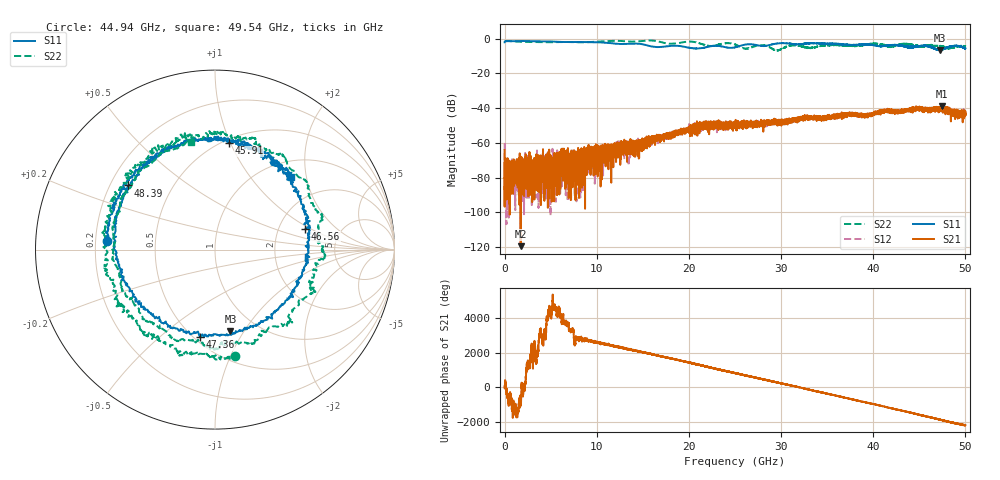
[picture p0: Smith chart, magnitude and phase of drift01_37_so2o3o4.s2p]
!Created with skrf (http://scikit-rf.org).
# Hz S RI R 50.0
!freq ReS11 ImS11 ReS21 ImS21 ReS12 ImS12 ReS22 ImS22
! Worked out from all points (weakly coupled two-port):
!   10001 points, 300 kHz to 50 GHz, reference 50 ohm
!   highest |S21| = -38.87 dB at 47.42 GHz (marker M1); lowest = -119.5 dB at 1.745 GHz (marker M2)
!   lowest |S11| = -6.7 dB at 47.21 GHz (marker M3), VSWR 2.73, Z = 37.6 - j43.7 ohm
!   |S11| at or under -10 dB: nowhere
!   |S22| runs from -6.8 to -1.0 dB; largest |S21 - S12| = 0.005
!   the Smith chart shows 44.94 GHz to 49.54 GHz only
!   S11 on the Smith chart (normalised r, x): 44.94 GHz: 0.25, +0.04; 45.91 GHz: 0.53, +0.99; 46.56 GHz: 2.82, +0.89; 47.36 GHz: 0.54, -0.69; 48.39 GHz: 0.27, +0.31; 49.54 GHz: 1.33, +1.63
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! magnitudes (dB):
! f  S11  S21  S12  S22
! 300 kHz  -2.1  -64.1  -60.1  -1.3
! 260.3 MHz  -1.4  -72.5  -78.1  -1.4
! 1.745 GHz  -1.4  -119.5  -87.6  -1.8
! 4.915 GHz  -1.6  -72.3  -84.6  -2.1
! 8.335 GHz  -2.0  -63.1  -68.0  -2.1
! 16.67 GHz  -4.8  -57.9  -57.4  -1.6
! 21.53 GHz  -5.4  -50.7  -49.6  -3.3
! 25 GHz  -5.0  -50.7  -49.9  -3.4
! 28.12 GHz  -4.3  -48.5  -48.4  -3.8
! 29.52 GHz  -2.8  -47.2  -47.4  -6.7
! 31.29 GHz  -3.1  -47.3  -47.9  -4.0
! 33.34 GHz  -2.6  -45.9  -45.4  -5.4
! 41.67 GHz  -3.9  -40.5  -41.9  -4.4
! 44.94 GHz  -4.4  -40.5  -39.4  -4.4
! 45.91 GHz  -4.5  -42.0  -41.3  -4.1
! 46.56 GHz  -5.7  -40.7  -40.6  -3.8
! 47.21 GHz  -6.7  -41.0  -39.8  -4.5
! 47.36 GHz  -6.1  -40.4  -41.1  -4.6
! 47.42 GHz  -6.1  -38.9  -41.1  -4.5
! 48.39 GHz  -4.4  -43.2  -42.4  -5.4
! 49.54 GHz  -4.7  -42.5  -43.4  -4.2
! 50 GHz  -5.6  -43.0  -44.0  -4.2
